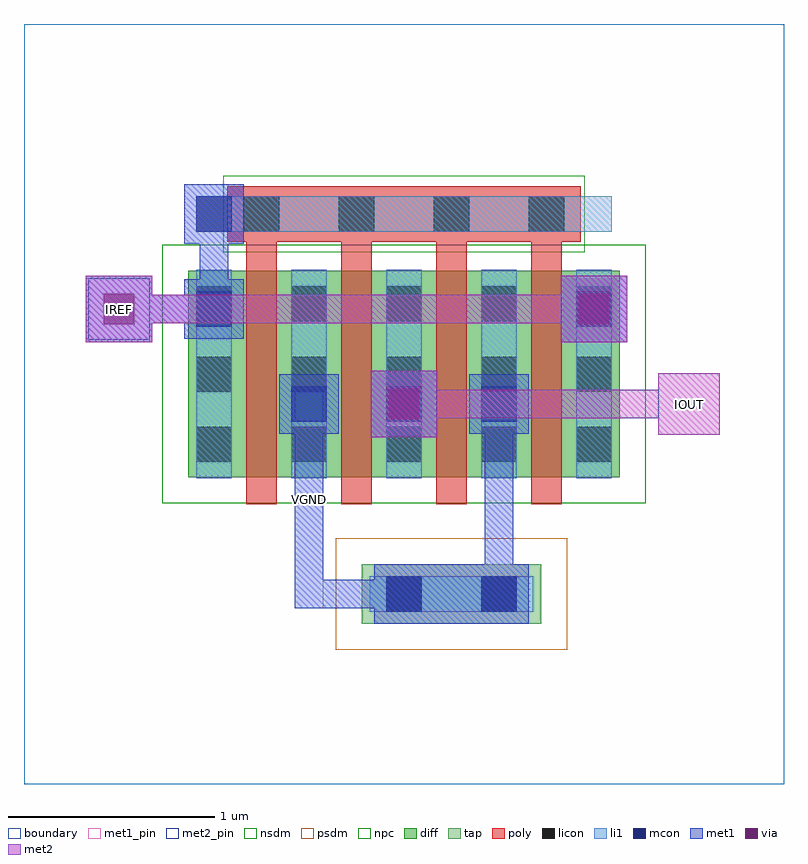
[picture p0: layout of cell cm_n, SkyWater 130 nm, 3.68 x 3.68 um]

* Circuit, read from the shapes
.subckt cm_n IOUT IREF VGND
XM1 VGND IREF IREF VGND sky130_fd_pr__nfet_01v8 w=1 l=0.15 m=2
XM2 IOUT IREF VGND VGND sky130_fd_pr__nfet_01v8 w=1 l=0.15 m=2
.ends

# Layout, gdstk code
import gdstk
lib = gdstk.Library(unit=1e-6, precision=1e-09)
def R(c, l, rs):  # rectangles x0, y0, x1, y1
    for r in rs: c.add(gdstk.rectangle(r[:2], r[2:], *l))
def A(c, l, x, y, w, h, nx, ny, dx, dy):  # array of equal rectangles
    R(c, l, [(x+i*dx, y+j*dy, x+i*dx+w, y+j*dy+h) for i in range(nx) for j in range(ny)])
diff = (65, 20)
tap = (65, 44)
poly = (66, 20)
licon = (66, 44)
li1 = (67, 20)
mcon = (67, 44)
met1_pin = (68, 16)
met1 = (68, 20)
via = (68, 44)
met2_pin = (69, 16)
met2 = (69, 20)
nsdm = (93, 44)
psdm = (94, 20)
npc = (95, 20)
boundary = (235, 4)

cm_n = lib.new_cell('cm_n')
R(cm_n, diff, [(0.795,1.485,2.885,2.485)])
R(cm_n, tap, [(1.635,0.775,2.505,1.065)])
A(cm_n, poly, 1.075, 1.355, 0.15, 1.405, 4, 1, 0.46, 0)
R(cm_n, poly, [(0.985,2.625,2.695,2.895)])
A(cm_n, licon, 0.835, 1.56, 0.17, 0.17, 5, 3, 0.46, 0.34)
A(cm_n, licon, 1.065, 2.675, 0.17, 0.17, 4, 1, 0.46, 0)
R(cm_n, licon, [(1.755,0.835,1.925,1.005), (2.215,0.835,2.385,1.005)])
A(cm_n, li1, 0.835, 1.48, 0.17, 1.01, 5, 1, 0.46, 0)
R(cm_n, li1, [(1.675,0.835,2.465,1.005), (0.835,2.675,2.845,2.845)])
A(cm_n, mcon, 1.295, 1.755, 0.17, 0.17, 3, 1, 0.46, 0)
R(cm_n, mcon, [(1.755,0.835,1.925,1.005), (2.215,0.835,2.385,1.005), (0.835,2.215,1.005,2.385), (2.675,2.215,2.845,2.385), (0.835,2.675,1.005,2.845)])
R(cm_n, met1_pin, [(1.31,0.85,1.45,1.91)])
A(cm_n, met1, 1.235, 1.695, 0.29, 0.29, 3, 1, 0.46, 0)
R(cm_n, met1, [(1.695,0.775,2.445,1.065), (1.31,0.85,1.91,0.99), (1.31,0.85,1.45,1.91), (1.77,0.85,2.37,0.99), (1.77,0.85,1.91,0.99), (2.23,0.85,2.37,1.91), (1.68,1.68,2,2), (0.3,2.14,0.62,2.46), (2.6,2.14,2.92,2.46), (0.775,2.155,1.065,2.445), (2.615,2.155,2.905,2.445), (0.39,2.23,0.99,2.37), (0.85,2.23,0.99,2.83), (0.775,2.615,1.065,2.905)])
R(cm_n, via, [(1.765,1.765,1.915,1.915), (0.385,2.225,0.535,2.375), (2.685,2.225,2.835,2.375)])
R(cm_n, met2_pin, [(3.07,1.69,3.37,1.99), (0.31,2.15,0.61,2.45)])
R(cm_n, met2, [(1.68,1.68,2,2), (3.07,1.69,3.37,1.99), (1.77,1.77,3.29,1.91), (3.15,1.77,3.29,1.91), (0.3,2.14,0.62,2.46), (2.6,2.14,2.92,2.46), (0.31,2.15,0.61,2.45), (0.39,2.23,0.53,2.37), (0.39,2.23,2.83,2.37)])
R(cm_n, nsdm, [(0.67,1.36,3.01,2.61)])
R(cm_n, psdm, [(1.51,0.65,2.63,1.19)])
R(cm_n, npc, [(0.965,2.575,2.715,2.945)])
R(cm_n, boundary, [(0,0,3.68,3.68)])
cm_n.add(gdstk.Label('VGND', (1.38,1.38), layer=68, texttype=5))
cm_n.add(gdstk.Label('IREF', (0.46,2.3), layer=69, texttype=5))
cm_n.add(gdstk.Label('IOUT', (3.22,1.84), layer=69, texttype=5))
cm_n.add(gdstk.Label('VGND', (1.38,1.38), layer=68, texttype=16))
cm_n.add(gdstk.Label('IREF', (0.46,2.3), layer=69, texttype=16))
cm_n.add(gdstk.Label('IOUT', (3.22,1.84), layer=69, texttype=16))

lib.write_gds('cm_n.gds')
